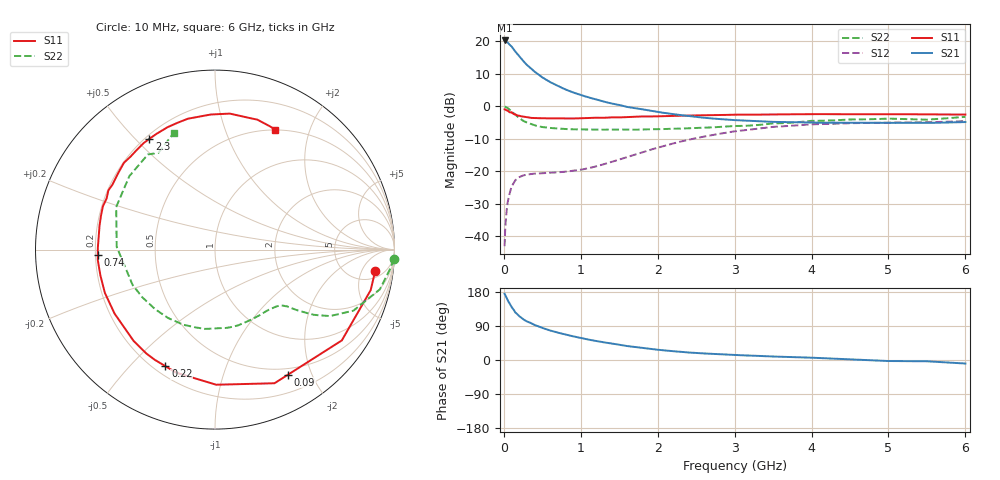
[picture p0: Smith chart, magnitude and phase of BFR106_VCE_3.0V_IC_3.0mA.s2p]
! Infineon Technologies  Discrete & RF Semiconductors
! BFR106
! VCE =  3.0 V,  IC =  3.0 mA
! Common Emitter S-Parameters:  Nov 2015
# GHz  S  MA  R  50
!  f  S11  S21  S12  S22
! GHz  MAG  ANG  MAG  ANG  MAG  ANG  MAG  ANG
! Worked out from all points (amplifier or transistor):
!   210 points, 10 MHz to 6 GHz, reference 50 ohm
!   highest |S21| = 20.3 dB at 10 MHz (marker M1)
!   |S21| within 3 dB of that: start of sweep to 135.9 MHz
!   unconditionally stable (mu >= 1): 719.4 MHz to 2.055 GHz; 4.046 GHz to end of sweep
!   at 185 MHz: K = 0.30, MSG = 19.0 dB, |S12| = -22.0 dB
!   at 1.52 GHz: K = 1.18, MAG = 5.7 dB, |S12| = -16.2 dB
!   at 6 GHz: K = 1.02, MAG = -1.1 dB, |S12| = -4.5 dB
!   S11 on the Smith chart (normalised r, x): 10 MHz: 7, -9; 90 MHz: 0.42, -1.66; 220 MHz: 0.24, -0.63; 740 MHz: 0.21, -0.02; 2.3 GHz: 0.22, +0.55; 6 GHz: 0.50, +1.51
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0.01  0.9006 -7.5  10.31 174.7  0.0071 88.0  0.9961 -3.0
0.025  0.8837 -18.0  10.03 168.8  0.0174 79.9  0.9773 -7.0
0.05  0.8691 -35.6  9.599 157.3  0.0336 71.5  0.9445 -13.6
0.09  0.8068 -59.7  8.534 143.8  0.0532 58.6  0.8609 -21.6
0.1  0.8151 -66.0  8.353 139.9  0.0584 56.8  0.8429 -23.8
0.15  0.7529 -89.5  6.956 125.3  0.0734 46.0  0.7409 -30.0
0.2  0.7189 -107.5  5.909 115.7  0.0816 39.7  0.6627 -33.3
0.22  0.706 -113.0  5.537 112.7  0.0836 37.9  0.6379 -34.1
0.26  0.6939 -123.4  4.871 106.5  0.0873 34.8  0.5935 -35.6
0.3  0.6816 -131.7  4.331 101.7  0.0894 33.0  0.5634 -36.6
0.4  0.6635 -147.5  3.412 92.3  0.0926 30.4  0.51 -38.3
0.5  0.6593 -158.5  2.789 84.4  0.0938 30.4  0.4809 -40.2
0.6  0.6546 -167.3  2.368 77.9  0.0955 31.9  0.4664 -42.7
0.74  0.6537 -177.4  1.964 70.3  0.0976 35.6  0.4535 -46.9
1.02  0.6578 167.3  1.47 57.2  0.1072 46.1  0.4414 -56.7
1.4  0.6795 151.0  1.107 43.5  0.1397 58.4  0.4413 -72.9
2.02  0.7039 129.4  0.814 26.7  0.2353 62.2  0.4465 -103.5
2.3  0.7171 120.6  0.734 21.6  0.2877 59.3  0.4558 -118.6
3.1  0.7446 99.7  0.607 12.4  0.426 43.9  0.5013 -162.1
4.1  0.7604 82.5  0.562 5.2  0.5328 22.7  0.6007 153.1
5.1  0.7594 71.0  0.558 -2.8  0.5646 6.5  0.6435 124.2
6  0.7479 63.3  0.574 -9.3  0.5937 -4.3  0.6908 109.3
